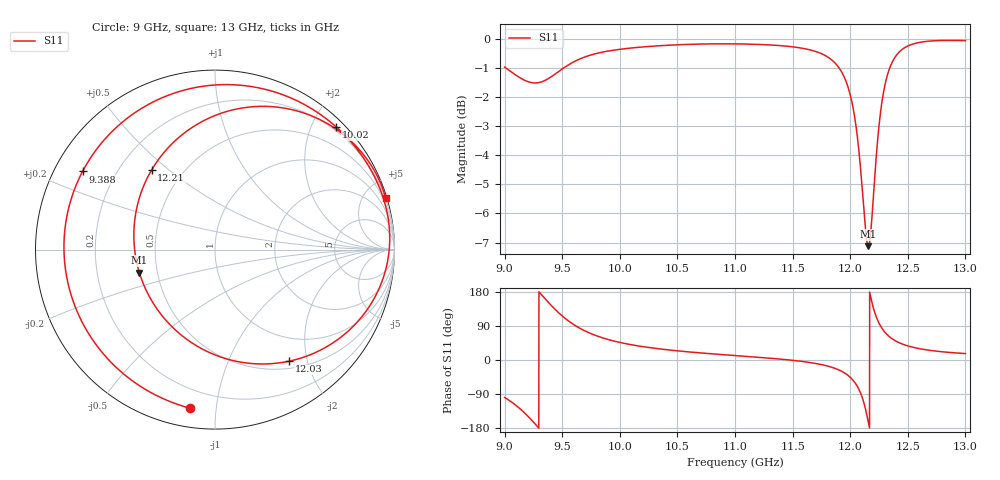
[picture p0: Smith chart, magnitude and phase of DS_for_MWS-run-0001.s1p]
! TOUCHSTONE file generated by CST DESIGN STUDIO
! Date and time: Tue Feb  4 13:08:59 2025
! Project name: C:\Work\MatlabApps\UnitCellOptimizationMatlab\CST\unitcell.cst
! Tree item: Tasks\Sweep1\SPara1\S-Parameters
! Header version: 2024
! Port assignment regex: !\s*Touchstone port\s*([0-9]+)\s*=\s*(CST MWS port|CST DES external port|CST DES block port)\s*(.+)\s* \(\"(.*)\"\)(\s*mode\s*([0-9]+))?.*
! Touchstone port assignment:
! Touchstone port 1 = CST DES external port 1 ("")
# GHz S MA R 50
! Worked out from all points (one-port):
!   4001 points, 9 GHz to 13 GHz, reference 50 ohm
!   lowest |S11| = -7.1 dB at 12.16 GHz (marker M1), VSWR 2.57, Z = 19.8 - j6.27 ohm
!   |S11| at or under -10 dB: nowhere
!   S11 on the Smith chart (normalised r, x): 9 GHz: 0.10, -0.85; 9.388 GHz: 0.08, +0.27; 10.02 GHz: 0.13, +2.39; 12.03 GHz: 0.61, -1.70; 12.21 GHz: 0.33, +0.44; 13 GHz: 0.15, +6.71
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9  0.8946 -98.9
9.125  0.8597 -126.4
9.242  0.8408 -161.1
9.315  0.8432 174.1
9.388  0.8568 149.5
9.5  0.888 116.3
9.601  0.9136 93.3
9.733  0.9366 71.8
10  0.9599 46.4
10.017  0.9609 45.2
10.5  0.9772 24.2
11  0.9807 11.7
11.5  0.9694 -0.8
11.837  0.9213 -18.9
11.93  0.8744 -30.5
12  0.802 -45.6
12.033  0.746 -56.5
12.1  0.5672 -95.0
12.127  0.4852 -122.2
12.157  0.4404 -163.1
12.183  0.4771 159.5
12.21  0.5676 128.4
12.25  0.709 97.4
12.296  0.8231 75.2
12.383  0.9263 52.3
12.5  0.9726 37.2
12.687  0.9915 25.7
13  0.9934 16.9
